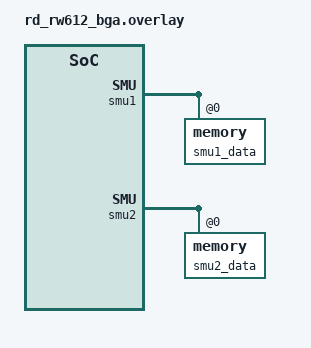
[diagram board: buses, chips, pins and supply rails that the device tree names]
/*
 * Copyright 2023 NXP
 *
 * SPDX-License-Identifier: Apache-2.0
 */

&smu1 {
	smu1_data: memory@0 {
		/delete-property/ zephyr,memory-attr;
	};
};

&smu2 {
	smu2_data: memory@0 {
		/delete-property/ zephyr,memory-attr;
	};
};
